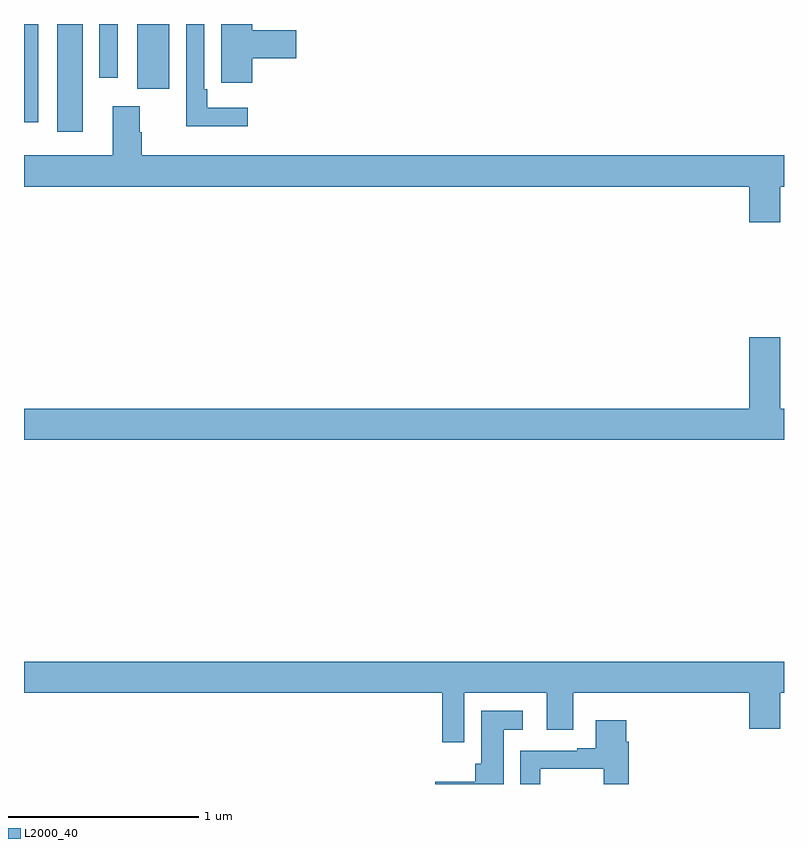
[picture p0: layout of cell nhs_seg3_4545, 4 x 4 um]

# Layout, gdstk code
import gdstk
lib = gdstk.Library(unit=1e-6, precision=1e-09)
def R(c, l, rs):  # rectangles x0, y0, x1, y1
    for r in rs: c.add(gdstk.rectangle(r[:2], r[2:], *l))
def P(c, l, *ps):  # polygons
    for p in ps: c.add(gdstk.Polygon(p, *l))
L2000_40 = (2000, 40)

nhs_seg3_4545 = lib.new_cell('nhs_seg3_4545')
R(nhs_seg3_4545, L2000_40, [(353.174,739.833,353.308,740.4), (353,739.884,353.074,740.4), (353.597,740.058,353.764,740.4), (353.397,740.118,353.493,740.4)])
P(nhs_seg3_4545, L2000_40, [(354.2,740.219),(354.433,740.219),(354.433,740.366),(354.2,740.366),(354.2,740.4),(354.038,740.4),(354.038,740.203),(354.039,740.203),(354.039,740.091),(354.2,740.091)],
  [(354.178,739.96),(353.965,739.96),(353.965,740.056),(353.949,740.056),(353.949,740.4),(353.853,740.4),(353.853,739.862),(354.178,739.862)],
  [(356.98,739.544),(357,739.544),(357,739.708),(353.621,739.708),(353.621,739.829),(353.608,739.829),(353.608,739.966),(353.468,739.966),(353.468,739.708),(353,739.708),(353,739.544),(356.816,739.544),(356.816,739.356),(356.98,739.356)],
  [(357,738.376),(356.98,738.376),(356.98,738.751),(356.816,738.751),(356.816,738.376),(353,738.376),(353,738.212),(357,738.212)],
  [(355.317,736.88),(355.751,736.88),(355.751,736.686),(355.891,736.686),(355.891,736.88),(356.816,736.88),(356.816,736.692),(356.98,736.692),(356.98,736.88),(357,736.88),(357,737.044),(353,737.044),(353,736.88),(355.201,736.88),(355.201,736.62),(355.317,736.62)],
  [(355.525,736.685),(355.624,736.685),(355.624,736.786),(355.406,736.786),(355.406,736.506),(355.376,736.506),(355.376,736.411),(355.164,736.411),(355.164,736.4),(355.525,736.4)],
  [(355.717,736.479),(356.051,736.479),(356.051,736.4),(356.183,736.4),(356.183,736.622),(356.17,736.622),(356.17,736.735),(356.009,736.735),(356.009,736.588),(355.913,736.588),(355.913,736.575),(355.613,736.575),(355.613,736.4),(355.717,736.4)])

lib.write_gds('nhs_seg3_4545.gds')
